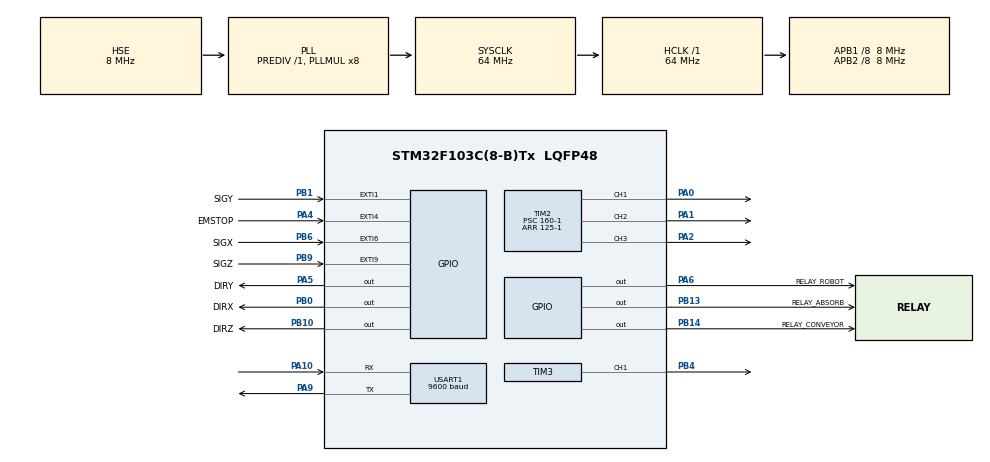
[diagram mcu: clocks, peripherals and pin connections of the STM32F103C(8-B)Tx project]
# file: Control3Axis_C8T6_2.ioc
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Mcu.Family=STM32F1
Mcu.Name=STM32F103C(8-B)Tx
Mcu.Package=LQFP48
NVIC.EXTI1_IRQn=true\:0\:0\:false\:false\:true\:true\:true\:true
NVIC.EXTI4_IRQn=true\:1\:0\:true\:false\:true\:true\:true\:true
NVIC.EXTI9_5_IRQn=true\:1\:0\:true\:false\:true\:true\:true\:true
NVIC.PriorityGroup=NVIC_PRIORITYGROUP_4
NVIC.TIM2_IRQn=true\:0\:0\:false\:false\:true\:true\:true\:true
NVIC.TIM3_IRQn=true\:0\:0\:false\:false\:true\:true\:true\:true
NVIC.USART1_IRQn=true\:0\:0\:false\:false\:true\:true\:true\:true
PA0-WKUP.Signal=S_TIM2_CH1_ETR
PA1.Signal=S_TIM2_CH2
PA10.Mode=Asynchronous
PA10.Signal=USART1_RX
PA13.Mode=Serial_Wire
PA13.Signal=SYS_JTMS-SWDIO
PA14.Mode=Serial_Wire
PA14.Signal=SYS_JTCK-SWCLK
PA2.Signal=S_TIM2_CH3
PA4.GPIO_Label=EMSTOP
PA4.GPIO_ModeDefaultEXTI=GPIO_MODE_IT_RISING
PA4.GPIO_PuPd=GPIO_PULLUP
PA4.Signal=GPXTI4
PA5.GPIO_Label=DIRY
PA5.GPIO_PuPd=GPIO_PULLDOWN
PA5.Signal=GPIO_Output
PA6.GPIO_Label=RELAY_ROBOT
PA6.PinState=GPIO_PIN_SET
PA6.Signal=GPIO_Output
PA9.Mode=Asynchronous
PA9.Signal=USART1_TX
PB0.GPIO_Label=DIRX
PB0.GPIO_PuPd=GPIO_PULLDOWN
PB0.Signal=GPIO_Output
PB1.GPIO_Label=SIGY
PB1.GPIO_ModeDefaultEXTI=GPIO_MODE_IT_FALLING
PB1.GPIO_PuPd=GPIO_PULLUP
PB1.Signal=GPXTI1
PB10.GPIO_Label=DIRZ
PB10.GPIO_PuPd=GPIO_PULLDOWN
PB10.Signal=GPIO_Output
PB13.GPIO_Label=RELAY_ABSORB
PB13.PinState=GPIO_PIN_SET
PB13.Signal=GPIO_Output
PB14.GPIO_Label=RELAY_CONVEYOR
PB14.PinState=GPIO_PIN_SET
PB14.Signal=GPIO_Output
PB4.Signal=S_TIM3_CH1
PB6.GPIO_Label=SIGX
PB6.GPIO_ModeDefaultEXTI=GPIO_MODE_IT_FALLING
PB6.GPIO_PuPd=GPIO_PULLUP
PB6.Signal=GPXTI6
PB9.GPIO_Label=SIGZ
PB9.GPIO_ModeDefaultEXTI=GPIO_MODE_IT_FALLING
PB9.GPIO_PuPd=GPIO_PULLUP
PB9.Signal=GPXTI9
PD0-OSC_IN.Mode=HSE-External-Oscillator
PD0-OSC_IN.Signal=RCC_OSC_IN
PD1-OSC_OUT.Mode=HSE-External-Oscillator
PD1-OSC_OUT.Signal=RCC_OSC_OUT
ProjectManager.HeapSize=0x200
ProjectManager.StackSize=0x400
ProjectManager.TargetToolchain=STM32CubeIDE
RCC.AHBFreq_Value=64000000
RCC.APB1CLKDivider=RCC_HCLK_DIV8
RCC.APB1Freq_Value=8000000
RCC.APB1TimFreq_Value=16000000
RCC.APB2CLKDivider=RCC_HCLK_DIV8
RCC.APB2Freq_Value=8000000
RCC.APB2TimFreq_Value=16000000
RCC.HCLKFreq_Value=64000000
RCC.PLLMUL=RCC_PLL_MUL8
RCC.PLLSourceVirtual=RCC_PLLSOURCE_HSE
RCC.SYSCLKFreq_VALUE=64000000
RCC.SYSCLKSource=RCC_SYSCLKSOURCE_PLLCLK
RCC.USBFreq_Value=64000000
SH.S_TIM2_CH1_ETR.0=TIM2_CH1,PWM Generation1 CH1
SH.S_TIM2_CH2.0=TIM2_CH2,PWM Generation2 CH2
SH.S_TIM2_CH3.0=TIM2_CH3,PWM Generation3 CH3
SH.S_TIM3_CH1.0=TIM3_CH1,PWM Generation1 CH1
TIM2.Channel-PWM\ Generation1\ CH1=TIM_CHANNEL_1
TIM2.Channel-PWM\ Generation2\ CH2=TIM_CHANNEL_2
TIM2.Channel-PWM\ Generation3\ CH3=TIM_CHANNEL_3
TIM2.Period=125-1
TIM2.Prescaler=160-1
TIM2.Pulse-PWM\ Generation1\ CH1=100
TIM2.Pulse-PWM\ Generation2\ CH2=100
TIM2.Pulse-PWM\ Generation3\ CH3=100
TIM3.Channel-PWM\ Generation1\ CH1=TIM_CHANNEL_1
TIM3.Period=125-1
TIM3.Prescaler=160-1
TIM3.Pulse-PWM\ Generation1\ CH1=50
USART1.BaudRate=9600
USART1.VirtualMode=VM_ASYNC
VP_TIM2_VS_ClockSourceINT.Mode=Internal
VP_TIM3_VS_ClockSourceINT.Mode=Internal
board=custom

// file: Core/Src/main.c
/* USER CODE BEGIN Header */
/**
 ******************************************************************************
 * @file           : main.c
 * @brief          : Main program body
 ******************************************************************************
 * @attention
 *
 * Copyright (c) 2023 STMicroelectronics.
 * All rights reserved.
 *
 * This software is licensed under terms that can be found in the LICENSE file
 * in the root directory of this software component.
 * If no LICENSE file comes with this software, it is provided AS-IS.
 *
 ******************************************************************************
 */
/* USER CODE END Header */
#include "main.h"

/* USER CODE BEGIN Includes */
#include<stdio.h>
#include<string.h>
/* USER CODE END Includes */

/* USER CODE BEGIN PD */
#define X_CHANNEL TIM_CHANNEL_1
#define Y_CHANNEL TIM_CHANNEL_1
#define Z_CHANNEL TIM_CHANNEL_3
#define TURN_CHANNEL TIM_CHANNEL_2
#define PULSE_ONE_ROUND 3200
#define length 26
#define MAX_UART_VALUE 100000

/* USER CODE END PD */

TIM_HandleTypeDef htim2;
TIM_HandleTypeDef htim3;

UART_HandleTypeDef huart1;

/* USER CODE BEGIN PV */
int homeX = 0, homeY = 0, homeZ = 0, startUart = 0, pulX = 0, pulY = 0,
		pulZ = 0, count_dot = 0, doneX = 0, doneY = 0, doneZ = 0, pulT = 0,
		doneT = 0, startXYZ = 0, startCmd = 0, running_TIM2 = 0, running_TIM3 =
				0;
int mode, dir_changeX = 0, dir_changeY = 0, dir_changeZ = 0;
uint32_t valueX = MAX_UART_VALUE, valueY = MAX_UART_VALUE, valueZ =
MAX_UART_VALUE, X = 0, Y = 0, Z = 0, count_timer = 0;
char rxByte[length];
char Home[30] = "Home----------------------";
char Turn_Around[30] = "Turn Around---------------";
char Stop[30] = "Stop----------------------";
char Stop_Conveyor[30] = "Stop conveyor-------------";
char Start_Conveyor[30] = "Start conveyor------------";
char Start_Pick_Up[30] = "Start pick up-------------";
char Stop_Pick_Up[30] = "Stop pick up--------------";
typedef enum {

	ClockWise = 0,
	CounterClockWise = 1,
	On = 0,
	Off = 1,
	Home_State = 1,
	Turn_Around_State = 2,
	Stop_State = 3,
	Stop_Conveyor_State = 4,
	Start_Conveyor_State = 5,
	Start_Pick_Up_State = 6,
	Stop_Pick_Up_State = 7
} State;
/* USER CODE END PV */

void SystemClock_Config(void);
static void MX_GPIO_Init(void);
static void MX_TIM2_Init(void);
static void MX_USART1_UART_Init(void);
static void MX_TIM3_Init(void);

/* USER CODE BEGIN 0 */
#if defined(__GNUC__)
int _write(int fd, char *ptr, int len) {
	HAL_UART_Transmit(&huart1, (uint8_t*) ptr, len, HAL_MAX_DELAY);
	return len;
}
#elif defined(__ICCARM__)#include "LowLevelIOInterface.h"

size_t __write(int handle,
  const unsigned char * buffer, size_t size) {
  HAL_UART_Transmit( &huart1, (uint8_t * ) buffer, size, UART_Delay);
  return size;
}
#elif defined(__CC_ARM)
int fputc(int ch, FILE * f) {
  HAL_UART_Transmit( &huart1, (uint8_t * ) &ch, 1, UART_Delay);
  return ch;
}
#endif

void HAL_TIM_PeriodElapsedCallback(TIM_HandleTypeDef *htim) {
	if (htim->Instance == TIM2 && startUart == 1) {
		if (startXYZ) {
			pulX = doneX == 0 ? pulX + 1 : pulX;
			pulZ = doneZ == 0 ? pulZ + 1 : pulZ;
			running_TIM2 = 1;

			if (pulX >= X && doneX == 0) {
				HAL_TIM_PWM_Stop_IT(&htim2, X_CHANNEL);
				count_timer++;
				doneX = 1;
			}
			if (pulZ >= Z && doneZ == 0) {
				HAL_TIM_PWM_Stop_IT(&htim2, Z_CHANNEL);
				doneZ = 1;
				count_timer++;
			}
		}
		if (startCmd) {
			running_TIM2 = 1;
			pulT = doneT == 0 ? pulT + 1 : pulT;
			if (pulT >= PULSE_ONE_ROUND && doneT == 0) {
				HAL_TIM_PWM_Stop_IT(&htim2, TURN_CHANNEL);
				doneT = 1;
				count_timer++;
				//printf("Done turn around\r\n");
			}
		}

	}
	if (htim->Instance == TIM3 && startUart == 1) {
		if (startXYZ) {
			pulY = doneY == 0 ? pulY + 1 : pulY;
			running_TIM3 = 1;
			if (pulY >= Y && doneY == 0) {
				HAL_TIM_PWM_Stop_IT(&htim3, Y_CHANNEL);
				doneY = 1;
				count_timer++;

			}
		}
	}
	if ((count_timer == 3 && startXYZ==1 && startUart == 1)
			|| (count_timer == 1 && startCmd == 1)) {
		startXYZ = 0;
		pulX = 0;
		pulY = 0;
		pulZ = 0;
		pulT = 0;
		count_timer = 0;
		startCmd = 0;
		startUart = 0;
		running_TIM2 = 0;
		running_TIM3 = 0;
	}
}
void Uart_Receive_Init() {
	X = 0;
	Y = 0;
	Z = 0;
	valueX = MAX_UART_VALUE;
	valueY = MAX_UART_VALUE;
	valueZ = MAX_UART_VALUE;
	count_dot = 0;
	mode = 0;
	dir_changeZ = 0;
	dir_changeX = 0;
	dir_changeY = 0;

}

void HAL_UART_RxCpltCallback(UART_HandleTypeDef *huart) {
	if (huart->Instance == USART1) {
		if (running_TIM2 == 0 && running_TIM3 == 0) {
			Uart_Receive_Init(); // khoi tao lai cac gia tri cua UART
			HAL_UART_Receive_IT(&huart1, (uint8_t*) rxByte, length); // truyen du? bit
			if (!strncmp(rxByte, Home,length)) {
				mode = Home_State;
			} else if (!strncmp(rxByte, Stop,length)) {
				mode = Stop_State;
			} else if (!strncmp(rxByte, Turn_Around,length)) {
				mode = Turn_Around_State;
			} else if (!strncmp(rxByte, Stop_Conveyor,length)) {
				mode = Stop_Conveyor_State;
			} else if (!strncmp(rxByte, Start_Conveyor,length)) {
				mode = Start_Conveyor_State;
			} else if (!strncmp(rxByte, Start_Pick_Up,length)) {
				mode = Start_Pick_Up_State;
			} else if (!strncmp(rxByte, Stop_Pick_Up,length)) {
				mode = Stop_Pick_Up_State;
			}
			switch (mode) {
			case Home_State: // cai nay cao nhi
				HAL_GPIO_WritePin(GPIOB, DIRX_Pin | DIRY_Pin | DIRZ_Pin,
						CounterClockWise);
				HAL_TIM_PWM_Start_IT(&htim2, X_CHANNEL);
				HAL_TIM_PWM_Start_IT(&htim3, Y_CHANNEL);
				HAL_TIM_PWM_Start_IT(&htim2, Z_CHANNEL);
				doneX = 1;
				doneY = 1;
				doneZ = 1;
				printf("Mode: Home\r\n");
				break;
			case Stop_State: // thay doi do uu tien boi vi cai nay cao nhat
				HAL_TIM_PWM_Stop_IT(&htim2, X_CHANNEL);
				HAL_TIM_PWM_Stop_IT(&htim3, Y_CHANNEL);
				HAL_TIM_PWM_Stop_IT(&htim2, Z_CHANNEL);
				HAL_GPIO_WritePin(GPIOB, RELAY_CONVEYOR_Pin, Off);
				printf("Mode: Stop\r\n");
				break;
			case Turn_Around_State:
				HAL_GPIO_WritePin(GPIOB, RELAY_CONVEYOR_Pin, On);
				HAL_TIM_PWM_Stop_IT(&htim2, X_CHANNEL);
				HAL_TIM_PWM_Stop_IT(&htim3, Y_CHANNEL);
				HAL_TIM_PWM_Stop_IT(&htim2, Z_CHANNEL);
				HAL_TIM_PWM_Start_IT(&htim2, TURN_CHANNEL);
				printf("Mode: Turn Around\r\n");
				doneT=0;
				break;
			case Stop_Conveyor_State:
				HAL_GPIO_WritePin(GPIOB, RELAY_CONVEYOR_Pin, Off);
				printf("Mode: Stop Conveyor\r\n");
				break;
			case Start_Conveyor_State:
				HAL_GPIO_WritePin(GPIOB, RELAY_CONVEYOR_Pin, On);
				printf("Mode: Start Conveyor\r\n");
				break;
			case Start_Pick_Up_State:
				HAL_GPIO_WritePin(GPIOA, RELAY_ROBOT_Pin, On);
				printf("Mode: Start pick up \r\n");
				break;
			case Stop_Pick_Up_State:
				HAL_GPIO_WritePin(GPIOA, RELAY_ROBOT_Pin, Off);
				printf("Mode: Stop pick up \r\n");
				break;
			default:
				mode = 0;
				break;
			}
			if (mode == 0) {
				printf("Mode: XYZ\r\n");
				for (int i = 0; i < length; i++) {
					if ((rxByte[i] >= 'a' && rxByte[i] <= 'z')
							|| (rxByte[i] >= 'A' && rxByte[i] <= 'Z')
							|| rxByte[i] == '=') {
						continue;
					} else {
						if (rxByte[i] == ',') {
							count_dot++;
							continue;
						}
						switch (count_dot) {
						case 0:
							if (rxByte[i] == '-') {
								HAL_GPIO_WritePin(GPIOB, DIRX_Pin,
										CounterClockWise);
								dir_changeX = 1;
								valueX /= 10;
								continue;
							}
							if (!dir_changeX) {
								HAL_GPIO_WritePin(GPIOB, DIRX_Pin, ClockWise);

							}
							X += ((int) rxByte[i] - '0') * valueX;
							valueX /= 10;
							break;
						case 1:
							if (rxByte[i] == '-') {
								HAL_GPIO_WritePin(GPIOA, DIRY_Pin,
										CounterClockWise);
								dir_changeY = 1;
								valueY /= 10;
								continue;
							}
							if (!dir_changeY) {
								HAL_GPIO_WritePin(GPIOA, DIRY_Pin, ClockWise);
							}
							Y += ((int) rxByte[i] - '0') * valueY;
							valueY /= 10;
							break;
						case 2:
							if (rxByte[i] == '-') {
								HAL_GPIO_WritePin(GPIOB, DIRZ_Pin,
										CounterClockWise);
								valueZ /= 10;
								dir_changeZ = 1;
								continue;
							}
							if (!dir_changeZ) {
								HAL_GPIO_WritePin(GPIOB, DIRZ_Pin, ClockWise);
							}
							Z += ((int) rxByte[i] - '0') * valueZ;
							valueZ /= 10;
							break;

						}
					}
				}
				startXYZ = 1;
				doneX = 0;
				doneY = 0;
				doneZ = 0;
				if (X) {
					HAL_TIM_PWM_Start_IT(&htim2, X_CHANNEL);
				} else {
					doneX = 1;
					count_timer++;
				}
				if (Y) {
					HAL_TIM_PWM_Start_IT(&htim3, Y_CHANNEL);
				} else {
					doneY = 1;
					count_timer++;
				}
				if (Z) {
					HAL_TIM_PWM_Start_IT(&htim2, Z_CHANNEL);
				} else {
					doneZ = 1;
					count_timer++;
				}

			} else if (mode != 0) {
				startCmd = 1;
			}
			startUart = 1;
		} else {
			printf("Running.... Dont receive value\r\n");
			HAL_UART_Receive_IT(&huart1, (uint8_t*) rxByte, length);
		}

	}

}
void HAL_GPIO_EXTI_Callback(uint16_t GPIO_Pin) {
	switch (GPIO_Pin) {
	case SIGX_Pin:
		HAL_TIM_PWM_Stop_IT(&htim2, X_CHANNEL);
		homeX = 1;
		EXTI->PR = SIGX_Pin;
		__HAL_GPIO_EXTI_CLEAR_IT(SIGX_Pin);
		break;
	case SIGY_Pin:
		HAL_TIM_PWM_Stop_IT(&htim3, Y_CHANNEL);
		homeY = 1;
		EXTI->PR = SIGY_Pin;
		__HAL_GPIO_EXTI_CLEAR_IT(SIGY_Pin);
		break;
	case SIGZ_Pin:
		HAL_TIM_PWM_Stop_IT(&htim2, Z_CHANNEL);
		homeZ = 1;
		EXTI->PR = SIGZ_Pin;
		__HAL_GPIO_EXTI_CLEAR_IT(SIGZ_Pin);
		break;
	case EMSTOP_Pin:
		HAL_TIM_PWM_Stop_IT(&htim2, X_CHANNEL);
		HAL_TIM_PWM_Stop_IT(&htim3, Y_CHANNEL);
		HAL_TIM_PWM_Stop_IT(&htim2, Z_CHANNEL);
		EXTI->PR = SIGZ_Pin;
		__HAL_GPIO_EXTI_CLEAR_IT(SIGZ_Pin);
		break;
	default:
		break;
	}
}
void ResetAllValue() {
	homeY = 0;
	homeX = 0;
	homeZ = 0;
	pulX = 0;
	pulY = 0;
	pulZ = 0;
	doneX = 0;
	doneY = 0;
	doneZ = 0;
}
void CheckHome(void) {
	if (homeY == 1 && homeX == 1 && homeZ == 1) {
		printf("At home\r\n");
		ResetAllValue();
		HAL_GPIO_WritePin(GPIOB, RELAY_CONVEYOR_Pin, On); // bat bang chuyen
	}
}
/* USER CODE END 0 */

int main(void)
{

  /* MCU Configuration--------------------------------------------------------*/

  /* Reset of all peripherals, Initializes the Flash interface and the Systick. */
  HAL_Init();

  /* Configure the system clock */
  SystemClock_Config();

  /* Initialize all configured peripherals */
  MX_GPIO_Init();
  MX_TIM2_Init();
  MX_USART1_UART_Init();
  MX_TIM3_Init();
  /* USER CODE BEGIN 2 */
	__HAL_TIM_CLEAR_IT(&htim2, TIM_IT_UPDATE);
	__HAL_TIM_CLEAR_IT(&htim3, TIM_IT_UPDATE);

	HAL_TIM_Base_Start_IT(&htim2);
	HAL_TIM_Base_Start_IT(&htim3);

	HAL_UART_Receive_IT(&huart1, (uint8_t*) rxByte, length);
//	HAL_TIM_PWM_Start_IT(&htim3, TIM_CHANNEL_1);

//	HAL_TIM_PWM_Start_IT(&htim2, Z_CHANNEL);
//HAL_UART_Transmit(&huart1, &c, 1, 10000);

  /* USER CODE END 2 */

  /* Infinite loop */
	while (1) {

    /* USER CODE BEGIN 3 */
		CheckHome();
	}
  /* USER CODE END 3 */
}

void SystemClock_Config(void)
{
  RCC_OscInitTypeDef RCC_OscInitStruct = {0};
  RCC_ClkInitTypeDef RCC_ClkInitStruct = {0};

  /** Initializes the RCC Oscillators according to the specified parameters
  * in the RCC_OscInitTypeDef structure.
  */
  RCC_OscInitStruct.OscillatorType = RCC_OSCILLATORTYPE_HSE;
  RCC_OscInitStruct.HSEState = RCC_HSE_ON;
  RCC_OscInitStruct.HSEPredivValue = RCC_HSE_PREDIV_DIV1;
  RCC_OscInitStruct.HSIState = RCC_HSI_ON;
  RCC_OscInitStruct.PLL.PLLState = RCC_PLL_ON;
  RCC_OscInitStruct.PLL.PLLSource = RCC_PLLSOURCE_HSE;
  RCC_OscInitStruct.PLL.PLLMUL = RCC_PLL_MUL8;
  if (HAL_RCC_OscConfig(&RCC_OscInitStruct) != HAL_OK)
  {
    Error_Handler();
  }

  /** Initializes the CPU, AHB and APB buses clocks
  */
  RCC_ClkInitStruct.ClockType = RCC_CLOCKTYPE_HCLK|RCC_CLOCKTYPE_SYSCLK
                              |RCC_CLOCKTYPE_PCLK1|RCC_CLOCKTYPE_PCLK2;
  RCC_ClkInitStruct.SYSCLKSource = RCC_SYSCLKSOURCE_PLLCLK;
  RCC_ClkInitStruct.AHBCLKDivider = RCC_SYSCLK_DIV1;
  RCC_ClkInitStruct.APB1CLKDivider = RCC_HCLK_DIV8;
  RCC_ClkInitStruct.APB2CLKDivider = RCC_HCLK_DIV8;

  if (HAL_RCC_ClockConfig(&RCC_ClkInitStruct, FLASH_LATENCY_2) != HAL_OK)
  {
    Error_Handler();
  }
}

static void MX_TIM2_Init(void)
{

  TIM_ClockConfigTypeDef sClockSourceConfig = {0};
  TIM_MasterConfigTypeDef sMasterConfig = {0};
  TIM_OC_InitTypeDef sConfigOC = {0};

  htim2.Instance = TIM2;
  htim2.Init.Prescaler = 160-1;
  htim2.Init.CounterMode = TIM_COUNTERMODE_UP;
  htim2.Init.Period = 125-1;
  htim2.Init.ClockDivision = TIM_CLOCKDIVISION_DIV1;
  htim2.Init.AutoReloadPreload = TIM_AUTORELOAD_PRELOAD_DISABLE;
  if (HAL_TIM_Base_Init(&htim2) != HAL_OK)
  {
    Error_Handler();
  }
  sClockSourceConfig.ClockSource = TIM_CLOCKSOURCE_INTERNAL;
  if (HAL_TIM_ConfigClockSource(&htim2, &sClockSourceConfig) != HAL_OK)
  {
    Error_Handler();
  }
  if (HAL_TIM_PWM_Init(&htim2) != HAL_OK)
  {
    Error_Handler();
  }
  sMasterConfig.MasterOutputTrigger = TIM_TRGO_RESET;
  sMasterConfig.MasterSlaveMode = TIM_MASTERSLAVEMODE_DISABLE;
  if (HAL_TIMEx_MasterConfigSynchronization(&htim2, &sMasterConfig) != HAL_OK)
  {
    Error_Handler();
  }
  sConfigOC.OCMode = TIM_OCMODE_PWM1;
  sConfigOC.Pulse = 100;
  sConfigOC.OCPolarity = TIM_OCPOLARITY_HIGH;
  sConfigOC.OCFastMode = TIM_OCFAST_DISABLE;
  if (HAL_TIM_PWM_ConfigChannel(&htim2, &sConfigOC, TIM_CHANNEL_1) != HAL_OK)
  {
    Error_Handler();
  }
  if (HAL_TIM_PWM_ConfigChannel(&htim2, &sConfigOC, TIM_CHANNEL_2) != HAL_OK)
  {
    Error_Handler();
  }
  if (HAL_TIM_PWM_ConfigChannel(&htim2, &sConfigOC, TIM_CHANNEL_3) != HAL_OK)
  {
    Error_Handler();
  }
  HAL_TIM_MspPostInit(&htim2);

}

static void MX_TIM3_Init(void)
{

  TIM_ClockConfigTypeDef sClockSourceConfig = {0};
  TIM_MasterConfigTypeDef sMasterConfig = {0};
  TIM_OC_InitTypeDef sConfigOC = {0};

  htim3.Instance = TIM3;
  htim3.Init.Prescaler = 160-1;
  htim3.Init.CounterMode = TIM_COUNTERMODE_UP;
  htim3.Init.Period = 125-1;
  htim3.Init.ClockDivision = TIM_CLOCKDIVISION_DIV1;
  htim3.Init.AutoReloadPreload = TIM_AUTORELOAD_PRELOAD_DISABLE;
  if (HAL_TIM_Base_Init(&htim3) != HAL_OK)
  {
    Error_Handler();
  }
  sClockSourceConfig.ClockSource = TIM_CLOCKSOURCE_INTERNAL;
  if (HAL_TIM_ConfigClockSource(&htim3, &sClockSourceConfig) != HAL_OK)
  {
    Error_Handler();
  }
  if (HAL_TIM_PWM_Init(&htim3) != HAL_OK)
  {
    Error_Handler();
  }
  sMasterConfig.MasterOutputTrigger = TIM_TRGO_RESET;
  sMasterConfig.MasterSlaveMode = TIM_MASTERSLAVEMODE_DISABLE;
  if (HAL_TIMEx_MasterConfigSynchronization(&htim3, &sMasterConfig) != HAL_OK)
  {
    Error_Handler();
  }
  sConfigOC.OCMode = TIM_OCMODE_PWM1;
  sConfigOC.Pulse = 50;
  sConfigOC.OCPolarity = TIM_OCPOLARITY_HIGH;
  sConfigOC.OCFastMode = TIM_OCFAST_DISABLE;
  if (HAL_TIM_PWM_ConfigChannel(&htim3, &sConfigOC, TIM_CHANNEL_1) != HAL_OK)
  {
    Error_Handler();
  }
  HAL_TIM_MspPostInit(&htim3);

}

static void MX_USART1_UART_Init(void)
{

  huart1.Instance = USART1;
  huart1.Init.BaudRate = 9600;
  huart1.Init.WordLength = UART_WORDLENGTH_8B;
  huart1.Init.StopBits = UART_STOPBITS_1;
  huart1.Init.Parity = UART_PARITY_NONE;
  huart1.Init.Mode = UART_MODE_TX_RX;
  huart1.Init.HwFlowCtl = UART_HWCONTROL_NONE;
  huart1.Init.OverSampling = UART_OVERSAMPLING_16;
  if (HAL_UART_Init(&huart1) != HAL_OK)
  {
    Error_Handler();
  }

}

static void MX_GPIO_Init(void)
{
  GPIO_InitTypeDef GPIO_InitStruct = {0};

  /* GPIO Ports Clock Enable */
  __HAL_RCC_GPIOD_CLK_ENABLE();
  __HAL_RCC_GPIOA_CLK_ENABLE();
  __HAL_RCC_GPIOB_CLK_ENABLE();

  /*Configure GPIO pin Output Level */
  HAL_GPIO_WritePin(DIRY_GPIO_Port, DIRY_Pin, GPIO_PIN_RESET);

  /*Configure GPIO pin Output Level */
  HAL_GPIO_WritePin(RELAY_ROBOT_GPIO_Port, RELAY_ROBOT_Pin, GPIO_PIN_SET);

  /*Configure GPIO pin Output Level */
  HAL_GPIO_WritePin(GPIOB, DIRX_Pin|DIRZ_Pin, GPIO_PIN_RESET);

  /*Configure GPIO pin Output Level */
  HAL_GPIO_WritePin(GPIOB, RELAY_ABSORB_Pin|RELAY_CONVEYOR_Pin, GPIO_PIN_SET);

  /*Configure GPIO pin : EMSTOP_Pin */
  GPIO_InitStruct.Pin = EMSTOP_Pin;
  GPIO_InitStruct.Mode = GPIO_MODE_IT_RISING;
  GPIO_InitStruct.Pull = GPIO_PULLUP;
  HAL_GPIO_Init(EMSTOP_GPIO_Port, &GPIO_InitStruct);

  /*Configure GPIO pin : DIRY_Pin */
  GPIO_InitStruct.Pin = DIRY_Pin;
  GPIO_InitStruct.Mode = GPIO_MODE_OUTPUT_PP;
  GPIO_InitStruct.Pull = GPIO_PULLDOWN;
  GPIO_InitStruct.Speed = GPIO_SPEED_FREQ_LOW;
  HAL_GPIO_Init(DIRY_GPIO_Port, &GPIO_InitStruct);

  /*Configure GPIO pin : RELAY_ROBOT_Pin */
  GPIO_InitStruct.Pin = RELAY_ROBOT_Pin;
  GPIO_InitStruct.Mode = GPIO_MODE_OUTPUT_PP;
  GPIO_InitStruct.Pull = GPIO_NOPULL;
  GPIO_InitStruct.Speed = GPIO_SPEED_FREQ_LOW;
  HAL_GPIO_Init(RELAY_ROBOT_GPIO_Port, &GPIO_InitStruct);

  /*Configure GPIO pins : DIRX_Pin DIRZ_Pin */
  GPIO_InitStruct.Pin = DIRX_Pin|DIRZ_Pin;
  GPIO_InitStruct.Mode = GPIO_MODE_OUTPUT_PP;
  GPIO_InitStruct.Pull = GPIO_PULLDOWN;
  GPIO_InitStruct.Speed = GPIO_SPEED_FREQ_LOW;
  HAL_GPIO_Init(GPIOB, &GPIO_InitStruct);

  /*Configure GPIO pins : SIGY_Pin SIGX_Pin SIGZ_Pin */
  GPIO_InitStruct.Pin = SIGY_Pin|SIGX_Pin|SIGZ_Pin;
  GPIO_InitStruct.Mode = GPIO_MODE_IT_FALLING;
  GPIO_InitStruct.Pull = GPIO_PULLUP;
  HAL_GPIO_Init(GPIOB, &GPIO_InitStruct);

  /*Configure GPIO pins : RELAY_ABSORB_Pin RELAY_CONVEYOR_Pin */
  GPIO_InitStruct.Pin = RELAY_ABSORB_Pin|RELAY_CONVEYOR_Pin;
  GPIO_InitStruct.Mode = GPIO_MODE_OUTPUT_PP;
  GPIO_InitStruct.Pull = GPIO_NOPULL;
  GPIO_InitStruct.Speed = GPIO_SPEED_FREQ_LOW;
  HAL_GPIO_Init(GPIOB, &GPIO_InitStruct);

  /* EXTI interrupt init*/
  HAL_NVIC_SetPriority(EXTI1_IRQn, 0, 0);
  HAL_NVIC_EnableIRQ(EXTI1_IRQn);

  HAL_NVIC_SetPriority(EXTI4_IRQn, 1, 0);
  HAL_NVIC_EnableIRQ(EXTI4_IRQn);

  HAL_NVIC_SetPriority(EXTI9_5_IRQn, 1, 0);
  HAL_NVIC_EnableIRQ(EXTI9_5_IRQn);

}

void Error_Handler(void)
{
	__disable_irq();
	while (1) {
	}
}
